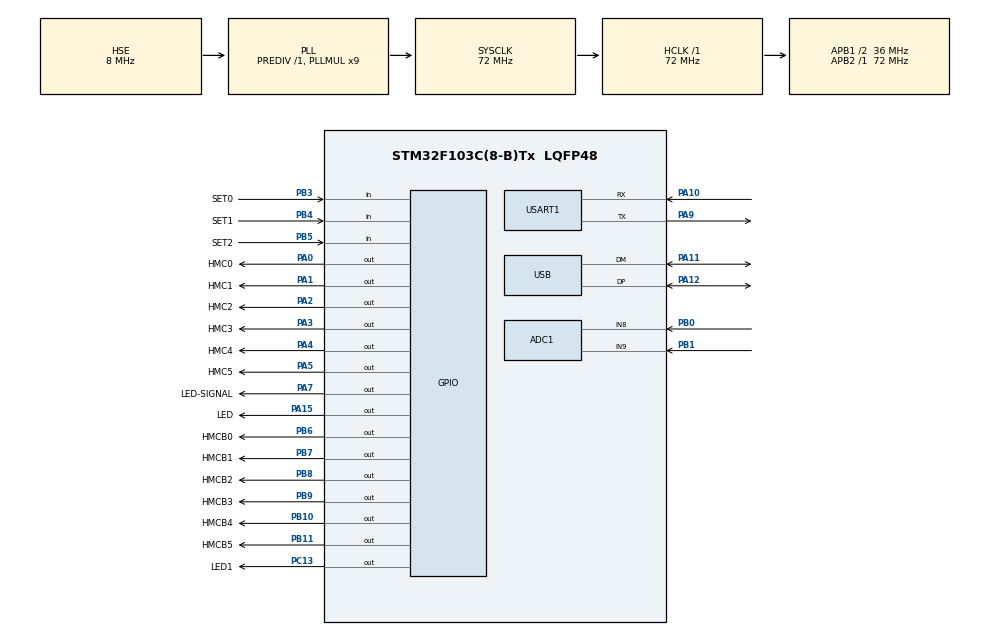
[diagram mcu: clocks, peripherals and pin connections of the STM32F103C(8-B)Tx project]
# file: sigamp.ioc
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ADC1.Channel-0\#ChannelRegularConversion=ADC_CHANNEL_8
ADC1.Channel-1\#ChannelRegularConversion=ADC_CHANNEL_9
ADC1.ContinuousConvMode=ENABLE
ADC1.NbrOfConversion=2
ADC1.NbrOfConversionFlag=1
ADC1.Rank-0\#ChannelRegularConversion=1
ADC1.Rank-1\#ChannelRegularConversion=2
ADC1.SamplingTime-0\#ChannelRegularConversion=ADC_SAMPLETIME_28CYCLES_5
ADC1.SamplingTime-1\#ChannelRegularConversion=ADC_SAMPLETIME_28CYCLES_5
ADC1.master=1
Dma.ADC1.0.Direction=DMA_PERIPH_TO_MEMORY
Dma.ADC1.0.Instance=DMA1_Channel1
Dma.ADC1.0.MemDataAlignment=DMA_MDATAALIGN_HALFWORD
Dma.ADC1.0.MemInc=DMA_MINC_ENABLE
Dma.ADC1.0.Mode=DMA_CIRCULAR
Dma.ADC1.0.PeriphDataAlignment=DMA_PDATAALIGN_HALFWORD
Dma.ADC1.0.PeriphInc=DMA_PINC_DISABLE
Dma.ADC1.0.Priority=DMA_PRIORITY_LOW
Dma.Request0=ADC1
FREERTOS.Tasks01=defaultTask,0,128,StartDefaultTask,Default,NULL,Dynamic,NULL,NULL;mainTask,0,128,MainTask,Default,NULL,Dynamic,NULL,NULL;usbcomTask,0,128,USBComTask,Default,NULL,Dynamic,NULL,NULL;autoattenTask,0,128,AutoAttenTask,Default,NULL,Dynamic,NULL,NULL
IWDG.Prescaler=IWDG_PRESCALER_64
IWDG.Reload=1000
Mcu.Family=STM32F1
Mcu.Name=STM32F103C(8-B)Tx
Mcu.Package=LQFP48
NVIC.DMA1_Channel1_IRQn=true\:5\:0\:true\:false\:true\:true\:false\:true\:true
NVIC.PriorityGroup=NVIC_PRIORITYGROUP_4
NVIC.TIM3_IRQn=true\:15\:0\:false\:false\:true\:false\:false\:true\:true
NVIC.TimeBase=TIM3_IRQn
NVIC.TimeBaseIP=TIM3
NVIC.USB_HP_CAN1_TX_IRQn=true\:5\:0\:false\:false\:true\:true\:true\:true\:true
NVIC.USB_LP_CAN1_RX0_IRQn=true\:5\:0\:false\:false\:true\:true\:false\:true\:true
PA0-WKUP.GPIO_Label=HMC0
PA0-WKUP.PinState=GPIO_PIN_SET
PA0-WKUP.Signal=GPIO_Output
PA1.GPIO_Label=HMC1
PA1.PinState=GPIO_PIN_SET
PA1.Signal=GPIO_Output
PA10.Mode=Asynchronous
PA10.Signal=USART1_RX
PA11.Mode=Device
PA11.Signal=USB_DM
PA12.Mode=Device
PA12.Signal=USB_DP
PA13.Mode=Serial_Wire
PA13.Signal=SYS_JTMS-SWDIO
PA14.Mode=Serial_Wire
PA14.Signal=SYS_JTCK-SWCLK
PA15.GPIO_Label=LED
PA15.Signal=GPIO_Output
PA2.GPIO_Label=HMC2
PA2.PinState=GPIO_PIN_SET
PA2.Signal=GPIO_Output
PA3.GPIO_Label=HMC3
PA3.PinState=GPIO_PIN_SET
PA3.Signal=GPIO_Output
PA4.GPIO_Label=HMC4
PA4.PinState=GPIO_PIN_SET
PA4.Signal=GPIO_Output
PA5.GPIO_Label=HMC5
PA5.PinState=GPIO_PIN_SET
PA5.Signal=GPIO_Output
PA7.GPIO_Label=LED-SIGNAL
PA7.Signal=GPIO_Output
PA9.Mode=Asynchronous
PA9.Signal=USART1_TX
PB0.Signal=ADCx_IN8
PB1.Signal=ADCx_IN9
PB10.GPIO_Label=HMCB4
PB10.PinState=GPIO_PIN_SET
PB10.Signal=GPIO_Output
PB11.GPIO_Label=HMCB5
PB11.PinState=GPIO_PIN_SET
PB11.Signal=GPIO_Output
PB3.GPIO_Label=SET0
PB3.GPIO_PuPd=GPIO_PULLUP
PB3.Signal=GPIO_Input
PB4.GPIO_Label=SET1
PB4.GPIO_PuPd=GPIO_PULLUP
PB4.Signal=GPIO_Input
PB5.GPIO_Label=SET2
PB5.GPIO_PuPd=GPIO_PULLUP
PB5.Signal=GPIO_Input
PB6.GPIO_Label=HMCB0
PB6.PinState=GPIO_PIN_SET
PB6.Signal=GPIO_Output
PB7.GPIO_Label=HMCB1
PB7.PinState=GPIO_PIN_SET
PB7.Signal=GPIO_Output
PB8.GPIO_Label=HMCB2
PB8.PinState=GPIO_PIN_SET
PB8.Signal=GPIO_Output
PB9.GPIO_Label=HMCB3
PB9.PinState=GPIO_PIN_SET
PB9.Signal=GPIO_Output
PC13-TAMPER-RTC.GPIO_Label=LED1
PC13-TAMPER-RTC.Signal=GPIO_Output
PD0-OSC_IN.Mode=HSE-External-Oscillator
PD0-OSC_IN.Signal=RCC_OSC_IN
PD1-OSC_OUT.Mode=HSE-External-Oscillator
PD1-OSC_OUT.Signal=RCC_OSC_OUT
ProjectManager.HeapSize=0x400
ProjectManager.StackSize=0x400
ProjectManager.TargetToolchain=MDK-ARM V5.32
RCC.ADCPresc=RCC_ADCPCLK2_DIV8
RCC.AHBFreq_Value=72000000
RCC.APB1CLKDivider=RCC_HCLK_DIV2
RCC.APB1Freq_Value=36000000
RCC.APB1TimFreq_Value=72000000
RCC.APB2Freq_Value=72000000
RCC.APB2TimFreq_Value=72000000
RCC.HCLKFreq_Value=72000000
RCC.PLLMUL=RCC_PLL_MUL9
RCC.PLLSourceVirtual=RCC_PLLSOURCE_HSE
RCC.SYSCLKFreq_VALUE=72000000
RCC.SYSCLKSource=RCC_SYSCLKSOURCE_PLLCLK
RCC.USBFreq_Value=48000000
RCC.USBPrescaler=RCC_USBCLKSOURCE_PLL_DIV1_5
SH.ADCx_IN8.0=ADC1_IN8,IN8
SH.ADCx_IN9.0=ADC1_IN9,IN9
USART1.VirtualMode=VM_ASYNC
USB_DEVICE.CLASS_NAME_FS=CDC
USB_DEVICE.VirtualMode=Cdc
USB_DEVICE.VirtualModeFS=Cdc_FS
VP_FREERTOS_VS_CMSIS_V1.Mode=CMSIS_V1
VP_IWDG_VS_IWDG.Mode=IWDG_Activate
VP_SYS_VS_tim3.Mode=TIM3
VP_USB_DEVICE_VS_USB_DEVICE_CDC_FS.Mode=CDC_FS
board=custom

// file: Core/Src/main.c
/* USER CODE BEGIN Header */
/**
  ******************************************************************************
  * @file           : main.c
  * @brief          : RF signal amp process (main program)
  ******************************************************************************
  * @attention
  *
  * Copyright (c) 2023 STMicroelectronics.
  * All rights reserved.
  *
  * This software is licensed under terms that can be found in the LICENSE file
  * in the root directory of this software component.
  * If no LICENSE file comes with this software, it is provided AS-IS.
  *
  ******************************************************************************
  */
/* USER CODE END Header */
#include "main.h"
#include "cmsis_os.h"
#include "adc.h"
#include "dma.h"
#include "iwdg.h"
#include "usart.h"
#include "usb_device.h"
#include "gpio.h"

/* USER CODE BEGIN Includes */
#include "ADF4351.h"
#include "usbd_cdc_if.h"
/* USER CODE END Includes */

/* USER CODE BEGIN PV */
// uint8_t u_buf[256];
/* USER CODE END PV */

void SystemClock_Config(void);
void MX_FREERTOS_Init(void);

int main(void)
{

  /* MCU Configuration--------------------------------------------------------*/

  /* Reset of all peripherals, Initializes the Flash interface and the Systick. */
  HAL_Init();

  /* Configure the system clock */
  SystemClock_Config();

  /* USER CODE BEGIN SysInit */
  HAL_Delay(2000);          //延时等待4351复位
  /* USER CODE END SysInit */

  /* Initialize all configured peripherals */
  MX_GPIO_Init();
  MX_DMA_Init();
  MX_IWDG_Init();
  MX_ADC1_Init();
  MX_USART1_UART_Init();
  /* USER CODE BEGIN 2 */
  ADF4351Init();
  HAL_ADC_Start_DMA(&hadc1,(uint32_t*) &AD_value, 2);
  usb_printf("\r\nRF signal process ver 1.0A\r\ndesigned by zjjohn WXBTV 2023-04-11\r\n\r\n");
  /* USER CODE END 2 */

  /* Call init function for freertos objects (in freertos.c) */
  MX_FREERTOS_Init();

  /* Start scheduler */
  osKernelStart();

  /* We should never get here as control is now taken by the scheduler */
  /* Infinite loop */
  while (1)
  {

  }
}

void SystemClock_Config(void)
{
  RCC_OscInitTypeDef RCC_OscInitStruct = {0};
  RCC_ClkInitTypeDef RCC_ClkInitStruct = {0};
  RCC_PeriphCLKInitTypeDef PeriphClkInit = {0};

  /** Initializes the RCC Oscillators according to the specified parameters
  * in the RCC_OscInitTypeDef structure.
  */
  RCC_OscInitStruct.OscillatorType = RCC_OSCILLATORTYPE_LSI|RCC_OSCILLATORTYPE_HSE;
  RCC_OscInitStruct.HSEState = RCC_HSE_ON;
  RCC_OscInitStruct.HSEPredivValue = RCC_HSE_PREDIV_DIV1;
  RCC_OscInitStruct.HSIState = RCC_HSI_ON;
  RCC_OscInitStruct.LSIState = RCC_LSI_ON;
  RCC_OscInitStruct.PLL.PLLState = RCC_PLL_ON;
  RCC_OscInitStruct.PLL.PLLSource = RCC_PLLSOURCE_HSE;
  RCC_OscInitStruct.PLL.PLLMUL = RCC_PLL_MUL9;
  if (HAL_RCC_OscConfig(&RCC_OscInitStruct) != HAL_OK)
  {
    Error_Handler();
  }

  /** Initializes the CPU, AHB and APB buses clocks
  */
  RCC_ClkInitStruct.ClockType = RCC_CLOCKTYPE_HCLK|RCC_CLOCKTYPE_SYSCLK
                              |RCC_CLOCKTYPE_PCLK1|RCC_CLOCKTYPE_PCLK2;
  RCC_ClkInitStruct.SYSCLKSource = RCC_SYSCLKSOURCE_PLLCLK;
  RCC_ClkInitStruct.AHBCLKDivider = RCC_SYSCLK_DIV1;
  RCC_ClkInitStruct.APB1CLKDivider = RCC_HCLK_DIV2;
  RCC_ClkInitStruct.APB2CLKDivider = RCC_HCLK_DIV1;

  if (HAL_RCC_ClockConfig(&RCC_ClkInitStruct, FLASH_LATENCY_2) != HAL_OK)
  {
    Error_Handler();
  }
  PeriphClkInit.PeriphClockSelection = RCC_PERIPHCLK_ADC|RCC_PERIPHCLK_USB;
  PeriphClkInit.AdcClockSelection = RCC_ADCPCLK2_DIV8;
  PeriphClkInit.UsbClockSelection = RCC_USBCLKSOURCE_PLL_DIV1_5;
  if (HAL_RCCEx_PeriphCLKConfig(&PeriphClkInit) != HAL_OK)
  {
    Error_Handler();
  }
}

void HAL_TIM_PeriodElapsedCallback(TIM_HandleTypeDef *htim)
{
  if (htim->Instance == TIM3) {
    HAL_IncTick();
  }
}

void Error_Handler(void)
{
  __disable_irq();
  while (1)
  {
  }
}

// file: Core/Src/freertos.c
/* USER CODE BEGIN Header */
/**
  ******************************************************************************
  * File Name          : freertos.c
  * Description        : Code for freertos applications
  ******************************************************************************
  * @attention
  *
  * Copyright (c) 2023 STMicroelectronics.
  * All rights reserved.
  *
  * This software is licensed under terms that can be found in the LICENSE file
  * in the root directory of this software component.
  * If no LICENSE file comes with this software, it is provided AS-IS.
  *
  ******************************************************************************
  */
/* USER CODE END Header */

#include "FreeRTOS.h"
#include "task.h"
#include "main.h"
#include "cmsis_os.h"

/* USER CODE BEGIN Includes */
#include "iwdg.h"
#include "usbd_cdc_if.h"
#include "ADF4351.h"
#include "gpio.h"
#include "i2c.h"
//#include "usart.h"
#include "adc.h"
/* USER CODE END Includes */

/* USER CODE BEGIN Variables */
float freq = FREQUENCYINIT;
int atten;

//extern I2C_HandleTypeDef hi2c1;

/* USER CODE END Variables */
osThreadId defaultTaskHandle;
osThreadId mainTaskHandle;
osThreadId usbcomTaskHandle;
osThreadId autoattenTaskHandle;

/* USER CODE BEGIN FunctionPrototypes */
float FreqGet(char *freqstr);       //获取USB串口收到的频率MHz
float AttenGet(char *attenstr);     //获取USB串口收到的衰减值DB
/* USER CODE END FunctionPrototypes */

void StartDefaultTask(void const * argument);
void MainTask(void const * argument);
void USBComTask(void const * argument);
void AutoAttenTask(void const * argument);

extern void MX_USB_DEVICE_Init(void);
void MX_FREERTOS_Init(void); /* (MISRA C 2004 rule 8.1) */

/* GetIdleTaskMemory prototype (linked to static allocation support) */
void vApplicationGetIdleTaskMemory( StaticTask_t **ppxIdleTaskTCBBuffer, StackType_t **ppxIdleTaskStackBuffer, uint32_t *pulIdleTaskStackSize );

/* USER CODE BEGIN GET_IDLE_TASK_MEMORY */
static StaticTask_t xIdleTaskTCBBuffer;
static StackType_t xIdleStack[configMINIMAL_STACK_SIZE];

void vApplicationGetIdleTaskMemory( StaticTask_t **ppxIdleTaskTCBBuffer, StackType_t **ppxIdleTaskStackBuffer, uint32_t *pulIdleTaskStackSize )
{
  *ppxIdleTaskTCBBuffer = &xIdleTaskTCBBuffer;
  *ppxIdleTaskStackBuffer = &xIdleStack[0];
  *pulIdleTaskStackSize = configMINIMAL_STACK_SIZE;
  /* place for user code */
}
/* USER CODE END GET_IDLE_TASK_MEMORY */

void MX_FREERTOS_Init(void) {

  /* Create the thread(s) */
  /* definition and creation of defaultTask */
  osThreadDef(defaultTask, StartDefaultTask, osPriorityNormal, 0, 128);
  defaultTaskHandle = osThreadCreate(osThread(defaultTask), NULL);

  /* definition and creation of mainTask */
  osThreadDef(mainTask, MainTask, osPriorityNormal, 0, 128);
  mainTaskHandle = osThreadCreate(osThread(mainTask), NULL);

  /* definition and creation of usbcomTask */
  osThreadDef(usbcomTask, USBComTask, osPriorityNormal, 0, 128);
  usbcomTaskHandle = osThreadCreate(osThread(usbcomTask), NULL);

  /* definition and creation of autoattenTask */
  osThreadDef(autoattenTask, AutoAttenTask, osPriorityNormal, 0, 128);
  autoattenTaskHandle = osThreadCreate(osThread(autoattenTask), NULL);

}

void StartDefaultTask(void const * argument)
{
  /* init code for USB_DEVICE */
  MX_USB_DEVICE_Init();
  for(;;)
  {
    osDelay(1);
  }
}

void MainTask(void const * argument)
{
  /* USER CODE BEGIN MainTask */
    int countnum=0;

	if((freq < 35) || (freq >= 4400))  	freq  = FREQUENCYINIT;    	//场强超出
    ADF4351Init();
    ADF4351WriteFreq(freq);
	usb_printf("Current Frequency= %.2f\r\n", freq);

  /* Infinite loop */
  for(;;)
  {
    if(countnum % 20 == 0){
        HAL_GPIO_TogglePin(LED_GPIO_Port, LED_Pin);           //工作指示灯
        if((AD_value[0]*3.3f/4096) < 0.9 ){                   //中频工作电压临界点
            HAL_GPIO_TogglePin(LED_SIGNAL_GPIO_Port, LED_SIGNAL_Pin);               //信号强度指示灯闪烁，信号差
        }else{
            HAL_GPIO_WritePin(LED_SIGNAL_GPIO_Port, LED_SIGNAL_Pin, GPIO_PIN_RESET); //信号信号强度指示灯常亮（低电平输出），信号正常
        }

//        if((AD_value[0]*3.3f/4096) < 0.15 ){
//            HAL_GPIO_TogglePin(LED_GPIO_Port, LED_Pin);               //信号强度指示灯闪烁，信号差
//        }else{
//            HAL_GPIO_WritePin(LED_GPIO_Port, LED_Pin, GPIO_PIN_RESET); //信号信号强度指示灯常亮（低电平输出），信号正常
//        }
    }

    if(countnum % 50 == 0) HAL_IWDG_Refresh(&hiwdg);    					//0.5秒喂狗，1.6秒溢出

    //if(countnum % 100 == 10) usb_printf("countnum=%d\r\n", countnum);     //1秒,输出计数，测试用

    if(countnum % 6000 == 20){
        usb_printf("RF signal process ver 1.0B   designed by zjjohn WXBTV 2023-04-23\r\n");
		usb_printf("Frequency=%.2f atten=%d \r\n", freq, atten);        	//60秒,调试输出
  	}

    if(countnum % 3600000 == 10000){	                 //定时10小时间隔，刷新频率，初始化
        ADF4351Init();
        ADF4351WriteFreq(freq);
    }

    if(countnum % 360000 == 5000){	                     //定时1小时间隔，刷新频率
        ADF4351WriteFreq(freq);
    }

    countnum++;
    if(countnum > 8640000)   countnum = 0;      		//24小时清0

    osDelay(10);                                		//10毫秒定时
  }
  /* USER CODE END MainTask */
}

void USBComTask(void const * argument)
{
  /* USER CODE BEGIN USBComTask */
  const char *strptr;	    //指针变量；
  char tempstr[30];         //临时字符串（USB串口接收到的数据缓存）
  int i;                    //临时变量
  float FAtemp;
  uint32_t NotifyValue;

  /* Infinite loop */
  for(;;)
  {
      NotifyValue=ulTaskNotifyTake(pdTRUE,portMAX_DELAY);       //等待通知  from usbd_cdc_if.c
	  if(NotifyValue == 1){
          if(RxLen){                                          //接收到usb口的指令
            usb_printf("recevied command= %s  rxlen = %d\r\n", pRx, RxLen);     //收到的命令
            if((RxLen < 2) || (RxLen > 10)){                          //命令长度不合法
                usb_printf("Length Wrong!!\r\n");
            }else{
                for (i = 0; i < RxLen; i++ )   tempstr[i] = *(pRx+i);	   //拷贝接收到的数据。
                tempstr[RxLen] = 0;
                if(tempstr[0]==102) tempstr[0]=70;      //f-->F
                if(tempstr[0]== 97) tempstr[0]=65;       //a-->A
                /*判断频率数据*/
                strptr = strstr (tempstr, "F");         //判断收到频率数据
                if (strptr){
                    FAtemp = FreqGet(tempstr);
                    if(FAtemp != -1){                   //获取当前的频率
                        ADF4351WriteFreq(FAtemp);       //设置新的频率
						freq = FAtemp;
                        usb_printf("Get Frequency！%.2f\r\n", FAtemp);

                    } else{
                        usb_printf("Frequency wrong!(F35-F4400 MHz)\r\n");
                      }
                    tempstr[0] = 0;                     //将临时字符串清0
				}

            }
            RxLen = 0;
        }
    }

    osDelay(20);
  }
  /* USER CODE END USBComTask */
}

void AutoAttenTask(void const * argument)
{
  /* USER CODE BEGIN AutoAttenTask */
	int att_flag;
    uint8_t setdata;
    int debugcount = 0;

	atten = 20;
    HMC_WriteData(atten);
    HMCB_WriteData(atten);

  /* Infinite loop */
  for(;;)
  {
    //SET_ReadData();
    setdata = SET_ReadData();

    debugcount++;
    if(debugcount > 36000)  debugcount = 0;
    if(debugcount % 20 == 0)    usb_printf("set=%d  atten=%d\r\n",setdata, atten);

    switch(setdata){
        case 0:
            if(debugcount % 200 == 0)    usb_printf("A1 A2 all atten 31.5 dB\r\n");
            HMC_WriteData(63);
            HMCB_WriteData(63);
            break;
        case 1:
            if(debugcount % 200 == 0)    usb_printf("A1 atten 10.5 dB\r\n");
            HMC_WriteData(21);
            HMCB_WriteData(0);
            break;
        case 2:
            if(debugcount % 200 == 0)    usb_printf("A2 atten 10.5 dB\r\n");
            HMC_WriteData(0);
            HMCB_WriteData(21);
            break;
        case 3:
            if(debugcount % 200 == 0)    usb_printf("A2 atten 5 dB\r\n");
            HMC_WriteData(0);
            HMCB_WriteData(10);
            break;
        default:
            if(debugcount % 20 == 0){
                //usb_printf("auto atten mode \r\n");
                usb_printf("PB0=%d     PB1=%d\r\n",AD_value[0],AD_value[1]);
                usb_printf("ch0=%1.3fV  ch1=%1.3fV\r\n",AD_value[0]*3.3f/4096, AD_value[1]*3.3f/4096);
            }

            att_flag = (int)(((float)(AD_value[0]))/1850 *89 +1);	//计算场强标志值，90为1.499V 控制点
            if(att_flag > 189){                                     //场强标志值超出上限,衰减增加16 = 8dB
                atten = atten + 16;
                if(atten > 126)     atten = 126;
                //usb_printf("atten_flag > 189 %d\r\n", atten);
                HMC_WriteData_ALL(atten);
                break;
            }
            if(att_flag < 21){                                      //场强标志值低于下限，衰减减少29 = 14.5dB
                atten = atten - 29;
                if(atten < 0)       atten = 0;
                //usb_printf("atten_flag < 21 %d\r\n", atten);
                HMC_WriteData_ALL(atten);
                break;
            }
            switch(att_flag){
                case 21:
                    atten = atten -28;
                    break;
                case 22:
                    atten = atten -27;
                    break;
                case 23:
                    atten = atten -26;
                    break;
                case 24:
                    atten = atten -25;
                    break;
                case 25:
                case 26:
                    atten = atten -24;
                    break;
                case 27:
                    atten = atten -23;
                    break;
                case 28:
                case 29:
                    atten = atten -22;
                    break;
                case 30:
                case 31:
                    atten = atten -21;
                    break;
                case 32:
                    atten = atten -20;
                    break;
                case 33:
                case 34:
                    atten = atten -19;
                    break;
                case 35:
                case 36:
                    atten = atten -18;
                    break;
                case 37:
                case 38:
                    atten = atten -17;
                    break;
                case 39:
                case 40:
                    atten = atten -16;
                    break;
                case 41:
                case 42:
                    atten = atten -15;
                    break;
                case 43:
                case 44:
                    atten = atten -14;
                    break;
                case 45:
                case 46:
                    atten = atten -13;
                    break;
                case 47:    case 48:    case 49:
                    atten = atten -12;
                    break;
                case 50:     case 51:   case 52:
                    atten = atten -11;
                    break;
                case 53:    case 54:    case 55:
                    atten = atten -10;
                    break;
                case 56:
                case 57:
                    atten = atten -9;
                    break;
                case 58:    case 59:    case 60:    case 61:
                    atten = atten -8;
                    break;
                case 62:    case 63:    case 64:
                    atten = atten -7;
                    break;
                case 65:    case 66:    case 67:    case 68:
                    atten = atten -6;
                    break;
                case 69:    case 70:    case 71:
                    atten = atten -5;
                    break;
                case 72:    case 73:    case 74:    case 75:
                    atten = atten -4;
                    break;
                case 76:    case 77:    case 78:    case 79:    case 80:
                    atten = atten -3;
                    break;
                case 81:    case 82:    case 83:    case 84:
                    atten = atten -2;
                    break;
                case 85:    case 86:    case 87:    case 88:
                case 89:
                    atten = atten -1;
                    break;
                case 90:    case 91:    case 92:    case 93:    case 94:
                    atten = atten ;
                    break;
                case 95:    case 96:    case 97:    case 98:    case 99:
                    atten = atten + 1;
                    break;
                case 100:   case 101:   case 102:   case 103:   case 104:
                case 105:
                    atten = atten + 2;
                    break;
                case 106:   case 107:  case 108:    case 109:   case 110:
                case 111:
                    atten = atten + 3;
                    break;
                case 112:   case 113:  case 114:    case 115:   case 116:
                case 117:
                    atten = atten + 4;
                    break;
                case 118:   case 119:  case 120:    case 121:    case 122:
                case 123:   case 124:
                    atten = atten + 5;
                    break;
                case 125:   case 126:  case 127:    case 128:    case 129:
                case 130:   case 131:
                    atten = atten + 6;
                    break;
                case 132:   case 133:  case 134:    case 135:    case 136:
                case 137:    case 138:
                    atten = atten + 7;
                    break;
                case 139:   case 140:  case 141:    case 142:    case 143:
                case 144:   case 145:  case 146:    case 147:    case 148:
                    atten = atten + 8;
                    break;
                case 149:   case 150:  case 151:    case 152:    case 153:
                case 154:   case 155:  case 156:    case 157:
                    atten = atten + 9;
                    break;
                case 158:   case 159:  case 160:    case 161:    case 162:
                case 163:   case 164:  case 165:    case 166:    case 167:
                    atten = atten + 10;
                    break;
                case 168:   case 169:  case 170:    case 171:    case 172:
                case 173:   case 174:  case 175:    case 176:    case 177:
                    atten = atten + 11;
                    break;
                case 178:   case 179:  case 180:    case 181:    case 182:
                    atten = atten + 12;
                    break;
                case 183:   case 184:  case 185:    case 186:    case 187:
                    atten = atten + 13;
                    break;
                case 188:
                    atten = atten + 14;
                    break;
                case 189:
                    atten = atten + 15;
                    break;

            }
            if(atten < 0)       atten = 0;
            if(atten > 126)     atten = 126;
            HMC_WriteData_ALL(atten);

    }

	osDelay(50);
  }
  /* USER CODE END AutoAttenTask */
}

/* USER CODE BEGIN Application */
/**
* @brief 获取字符串中的频率，
* @param freqstr: 字符串   格式：F2546.1
* @retval 正常：浮点数代表频率，单位MHz; 不正常返回：-1
*/
float FreqGet(char *freqstr)
{
    const char *i;
    float freqtemp;
	i = strstr (freqstr , "F");							        //截取场强数据 +CSQ: 21,99

    freqtemp = atof(i+1);
    if((freqtemp < 35) || (freqtemp >= 4400))  freqtemp = -1;     //场强超出，设成一个标志为10
    return freqtemp;
}

/**
* @brief 获取字符串中的衰减值
* @param freqstr: 字符串   格式：a11   11 dB
* @retval 正常：浮点数代表衰减值，单位dB  不正常返回：-1
*/
float AttenGet(char *attenstr)
{
    const char *i;
    float attentemp;
	i = strstr (attenstr , "A");							    //截取场强数据 +CSQ: 21,99

    attentemp = atof(i+1);
    if((attentemp < 0) ||(attentemp > 32))  attentemp = -1;      //场强超出，设成一个标志为10
    return attentemp;
}

/* USER CODE END Application */
